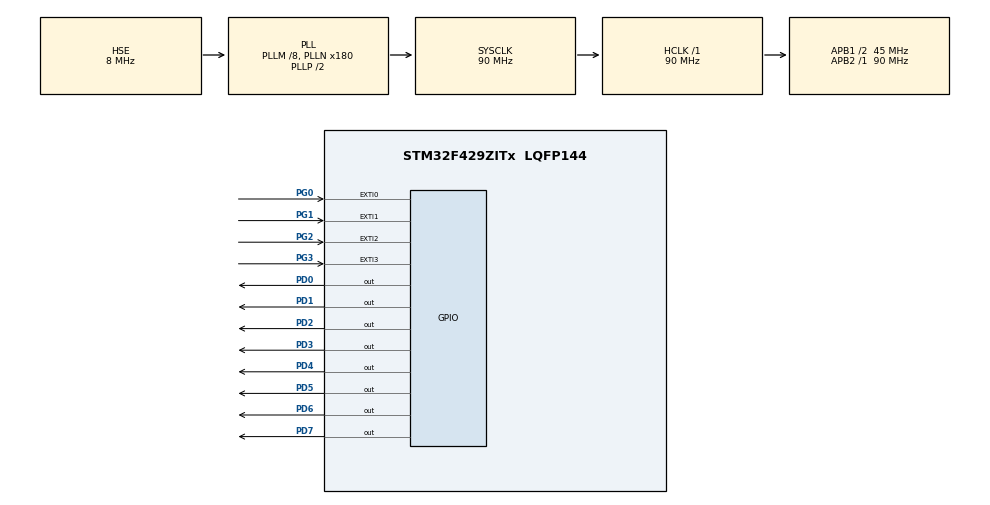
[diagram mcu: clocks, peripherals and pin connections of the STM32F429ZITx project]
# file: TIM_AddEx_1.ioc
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Mcu.Family=STM32F4
Mcu.Name=STM32F429ZITx
Mcu.Package=LQFP144
NVIC.EXTI0_IRQn=true\:0\:0\:false\:false\:true\:true\:true\:true
NVIC.EXTI1_IRQn=true\:0\:0\:false\:false\:true\:true\:true\:true
NVIC.EXTI2_IRQn=true\:0\:0\:false\:false\:true\:true\:true\:true
NVIC.EXTI3_IRQn=true\:0\:0\:false\:false\:true\:true\:true\:true
NVIC.PriorityGroup=NVIC_PRIORITYGROUP_4
NVIC.RCC_IRQn=true\:0\:0\:false\:false\:true\:true\:false\:true
NVIC.TIM2_IRQn=true\:0\:0\:false\:false\:true\:true\:true\:true
PA13.Mode=Serial_Wire
PA13.Signal=SYS_JTMS-SWDIO
PA14.Mode=Serial_Wire
PA14.Signal=SYS_JTCK-SWCLK
PD0.GPIO_ModeDefaultOutputPP=GPIO_MODE_OUTPUT_PP
PD0.GPIO_PuPd=GPIO_NOPULL
PD0.GPIO_Speed=GPIO_SPEED_FREQ_HIGH
PD0.PinState=GPIO_PIN_RESET
PD0.Signal=GPIO_Output
PD1.GPIO_ModeDefaultOutputPP=GPIO_MODE_OUTPUT_PP
PD1.GPIO_PuPd=GPIO_NOPULL
PD1.GPIO_Speed=GPIO_SPEED_FREQ_HIGH
PD1.PinState=GPIO_PIN_RESET
PD1.Signal=GPIO_Output
PD2.GPIO_ModeDefaultOutputPP=GPIO_MODE_OUTPUT_PP
PD2.GPIO_PuPd=GPIO_NOPULL
PD2.GPIO_Speed=GPIO_SPEED_FREQ_HIGH
PD2.PinState=GPIO_PIN_RESET
PD2.Signal=GPIO_Output
PD3.GPIO_ModeDefaultOutputPP=GPIO_MODE_OUTPUT_PP
PD3.GPIO_PuPd=GPIO_NOPULL
PD3.GPIO_Speed=GPIO_SPEED_FREQ_HIGH
PD3.PinState=GPIO_PIN_RESET
PD3.Signal=GPIO_Output
PD4.GPIO_ModeDefaultOutputPP=GPIO_MODE_OUTPUT_PP
PD4.GPIO_PuPd=GPIO_NOPULL
PD4.GPIO_Speed=GPIO_SPEED_FREQ_HIGH
PD4.PinState=GPIO_PIN_RESET
PD4.Signal=GPIO_Output
PD5.GPIO_ModeDefaultOutputPP=GPIO_MODE_OUTPUT_PP
PD5.GPIO_PuPd=GPIO_NOPULL
PD5.GPIO_Speed=GPIO_SPEED_FREQ_HIGH
PD5.PinState=GPIO_PIN_RESET
PD5.Signal=GPIO_Output
PD6.GPIO_ModeDefaultOutputPP=GPIO_MODE_OUTPUT_PP
PD6.GPIO_PuPd=GPIO_NOPULL
PD6.GPIO_Speed=GPIO_SPEED_FREQ_HIGH
PD6.PinState=GPIO_PIN_RESET
PD6.Signal=GPIO_Output
PD7.GPIO_ModeDefaultOutputPP=GPIO_MODE_OUTPUT_PP
PD7.GPIO_PuPd=GPIO_NOPULL
PD7.GPIO_Speed=GPIO_SPEED_FREQ_HIGH
PD7.PinState=GPIO_PIN_RESET
PD7.Signal=GPIO_Output
PG0.GPIO_ModeDefaultEXTI=GPIO_MODE_IT_FALLING
PG0.GPIO_PuPd=GPIO_NOPULL
PG0.Signal=GPXTI0
PG1.GPIO_ModeDefaultEXTI=GPIO_MODE_IT_FALLING
PG1.GPIO_PuPd=GPIO_NOPULL
PG1.Signal=GPXTI1
PG2.GPIO_ModeDefaultEXTI=GPIO_MODE_IT_FALLING
PG2.GPIO_PuPd=GPIO_NOPULL
PG2.Signal=GPXTI2
PG3.GPIO_ModeDefaultEXTI=GPIO_MODE_IT_FALLING
PG3.GPIO_PuPd=GPIO_NOPULL
PG3.Signal=GPXTI3
PH0/OSC_IN.Mode=HSE-External-Clock-Source
PH0/OSC_IN.Signal=RCC_OSC_IN
PH1/OSC_OUT.Mode=HSE-External-Clock-Source
PH1/OSC_OUT.Signal=RCC_OSC_OUT
ProjectManager.HeapSize=0x200
ProjectManager.StackSize=0x400
ProjectManager.TargetToolchain=STM32CubeIDE
RCC.48MHZClocksFreq_Value=45000000
RCC.AHBFreq_Value=90000000
RCC.APB1CLKDivider=RCC_HCLK_DIV2
RCC.APB1Freq_Value=45000000
RCC.APB1TimFreq_Value=90000000
RCC.APB2Freq_Value=90000000
RCC.APB2TimFreq_Value=90000000
RCC.CortexFreq_Value=90000000
RCC.HCLKFreq_Value=90000000
RCC.HSE_VALUE=8000000
RCC.HSI_VALUE=16000000
RCC.LSE_VALUE=32768
RCC.PLLM=8
RCC.PLLN=180
RCC.PLLSourceVirtual=RCC_PLLSOURCE_HSE
RCC.SYSCLKFreq_VALUE=90000000
RCC.SYSCLKSource=RCC_SYSCLKSOURCE_PLLCLK
RCC.VCOOutputFreq_Value=180000000
TIM2.Channel-Output\ Compare1\ No\ Output=TIM_CHANNEL_1
TIM2.Period=999
TIM2.Prescaler=8999
TIM2.Pulse-Output\ Compare1\ No\ Output=0
VP_TIM2_VS_ClockSourceINT.Mode=Internal
VP_TIM2_VS_no_output1.Mode=Output Compare1 No Output
board=custom

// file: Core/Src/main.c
/* USER CODE BEGIN Header */
/**
  ******************************************************************************
  * @file           : main.c
  * @brief          : Main program body
  ******************************************************************************
  * @attention
  *
  * Copyright (c) 2023 STMicroelectronics.
  * All rights reserved.
  *
  * This software is licensed under terms that can be found in the LICENSE file
  * in the root directory of this software component.
  * If no LICENSE file comes with this software, it is provided AS-IS.
  *
  ******************************************************************************
  */
/* USER CODE END Header */
#include "main.h"

TIM_HandleTypeDef htim2;

/* USER CODE BEGIN PV */

int flag_1 = 0, flag_2 = 0, flag_3 = 0;
int cnt_1 = 0, cnt_2 = 0;

/* USER CODE END PV */

void SystemClock_Config(void);
static void MX_GPIO_Init(void);
static void MX_TIM2_Init(void);
/* USER CODE BEGIN PFP */

void LED_OnOff(int, int);

/* USER CODE END PFP */

int main(void)
{

  /* MCU Configuration--------------------------------------------------------*/

  /* Reset of all peripherals, Initializes the Flash interface and the Systick. */
  HAL_Init();

  /* Configure the system clock */
  SystemClock_Config();

  /* Initialize all configured peripherals */
  MX_GPIO_Init();
  MX_TIM2_Init();
  /* USER CODE BEGIN 2 */

  LED_OnOff(LED_ALL, 500);
  HAL_TIM_Base_Start_IT(&htim2);
//  HAL_TIM_OC_Start_IT(&htim2, TIM_CHANNEL_1);

  /* USER CODE END 2 */

  /* Infinite loop */
  while (1)
  {

  }
}

void SystemClock_Config(void)
{
  RCC_OscInitTypeDef RCC_OscInitStruct = {0};
  RCC_ClkInitTypeDef RCC_ClkInitStruct = {0};

  /** Configure the main internal regulator output voltage
  */
  __HAL_RCC_PWR_CLK_ENABLE();
  __HAL_PWR_VOLTAGESCALING_CONFIG(PWR_REGULATOR_VOLTAGE_SCALE3);

  /** Initializes the RCC Oscillators according to the specified parameters
  * in the RCC_OscInitTypeDef structure.
  */
  RCC_OscInitStruct.OscillatorType = RCC_OSCILLATORTYPE_HSE;
  RCC_OscInitStruct.HSEState = RCC_HSE_BYPASS;
  RCC_OscInitStruct.PLL.PLLState = RCC_PLL_ON;
  RCC_OscInitStruct.PLL.PLLSource = RCC_PLLSOURCE_HSE;
  RCC_OscInitStruct.PLL.PLLM = 8;
  RCC_OscInitStruct.PLL.PLLN = 180;
  RCC_OscInitStruct.PLL.PLLP = RCC_PLLP_DIV2;
  RCC_OscInitStruct.PLL.PLLQ = 4;
  if (HAL_RCC_OscConfig(&RCC_OscInitStruct) != HAL_OK)
  {
    Error_Handler();
  }

  /** Activate the Over-Drive mode
  */
  if (HAL_PWREx_EnableOverDrive() != HAL_OK)
  {
    Error_Handler();
  }

  /** Initializes the CPU, AHB and APB buses clocks
  */
  RCC_ClkInitStruct.ClockType = RCC_CLOCKTYPE_HCLK|RCC_CLOCKTYPE_SYSCLK
                              |RCC_CLOCKTYPE_PCLK1|RCC_CLOCKTYPE_PCLK2;
  RCC_ClkInitStruct.SYSCLKSource = RCC_SYSCLKSOURCE_PLLCLK;
  RCC_ClkInitStruct.AHBCLKDivider = RCC_SYSCLK_DIV1;
  RCC_ClkInitStruct.APB1CLKDivider = RCC_HCLK_DIV2;
  RCC_ClkInitStruct.APB2CLKDivider = RCC_HCLK_DIV1;

  if (HAL_RCC_ClockConfig(&RCC_ClkInitStruct, FLASH_LATENCY_2) != HAL_OK)
  {
    Error_Handler();
  }
}

static void MX_TIM2_Init(void)
{

  TIM_ClockConfigTypeDef sClockSourceConfig = {0};
  TIM_MasterConfigTypeDef sMasterConfig = {0};
  TIM_OC_InitTypeDef sConfigOC = {0};

  htim2.Instance = TIM2;
  htim2.Init.Prescaler = 8999;
  htim2.Init.CounterMode = TIM_COUNTERMODE_UP;
  htim2.Init.Period = 999;
  htim2.Init.ClockDivision = TIM_CLOCKDIVISION_DIV1;
  htim2.Init.AutoReloadPreload = TIM_AUTORELOAD_PRELOAD_DISABLE;
  if (HAL_TIM_Base_Init(&htim2) != HAL_OK)
  {
    Error_Handler();
  }
  sClockSourceConfig.ClockSource = TIM_CLOCKSOURCE_INTERNAL;
  if (HAL_TIM_ConfigClockSource(&htim2, &sClockSourceConfig) != HAL_OK)
  {
    Error_Handler();
  }
  if (HAL_TIM_OC_Init(&htim2) != HAL_OK)
  {
    Error_Handler();
  }
  sMasterConfig.MasterOutputTrigger = TIM_TRGO_RESET;
  sMasterConfig.MasterSlaveMode = TIM_MASTERSLAVEMODE_DISABLE;
  if (HAL_TIMEx_MasterConfigSynchronization(&htim2, &sMasterConfig) != HAL_OK)
  {
    Error_Handler();
  }
  sConfigOC.OCMode = TIM_OCMODE_TIMING;
  sConfigOC.Pulse = 0;
  sConfigOC.OCPolarity = TIM_OCPOLARITY_HIGH;
  sConfigOC.OCFastMode = TIM_OCFAST_DISABLE;
  if (HAL_TIM_OC_ConfigChannel(&htim2, &sConfigOC, TIM_CHANNEL_1) != HAL_OK)
  {
    Error_Handler();
  }

}

static void MX_GPIO_Init(void)
{
  GPIO_InitTypeDef GPIO_InitStruct = {0};

  /* GPIO Ports Clock Enable */
  __HAL_RCC_GPIOH_CLK_ENABLE();
  __HAL_RCC_GPIOG_CLK_ENABLE();
  __HAL_RCC_GPIOA_CLK_ENABLE();
  __HAL_RCC_GPIOD_CLK_ENABLE();

  /*Configure GPIO pin Output Level */
  HAL_GPIO_WritePin(GPIOD, GPIO_PIN_0|GPIO_PIN_1|GPIO_PIN_2|GPIO_PIN_3
                          |GPIO_PIN_4|GPIO_PIN_5|GPIO_PIN_6|GPIO_PIN_7, GPIO_PIN_RESET);

  /*Configure GPIO pins : PG0 PG1 PG2 PG3 */
  GPIO_InitStruct.Pin = GPIO_PIN_0|GPIO_PIN_1|GPIO_PIN_2|GPIO_PIN_3;
  GPIO_InitStruct.Mode = GPIO_MODE_IT_FALLING;
  GPIO_InitStruct.Pull = GPIO_NOPULL;
  HAL_GPIO_Init(GPIOG, &GPIO_InitStruct);

  /*Configure GPIO pins : PD0 PD1 PD2 PD3
                           PD4 PD5 PD6 PD7 */
  GPIO_InitStruct.Pin = GPIO_PIN_0|GPIO_PIN_1|GPIO_PIN_2|GPIO_PIN_3
                          |GPIO_PIN_4|GPIO_PIN_5|GPIO_PIN_6|GPIO_PIN_7;
  GPIO_InitStruct.Mode = GPIO_MODE_OUTPUT_PP;
  GPIO_InitStruct.Pull = GPIO_NOPULL;
  GPIO_InitStruct.Speed = GPIO_SPEED_FREQ_HIGH;
  HAL_GPIO_Init(GPIOD, &GPIO_InitStruct);

  /* EXTI interrupt init*/
  HAL_NVIC_SetPriority(EXTI0_IRQn, 0, 0);
  HAL_NVIC_EnableIRQ(EXTI0_IRQn);

  HAL_NVIC_SetPriority(EXTI1_IRQn, 0, 0);
  HAL_NVIC_EnableIRQ(EXTI1_IRQn);

  HAL_NVIC_SetPriority(EXTI2_IRQn, 0, 0);
  HAL_NVIC_EnableIRQ(EXTI2_IRQn);

  HAL_NVIC_SetPriority(EXTI3_IRQn, 0, 0);
  HAL_NVIC_EnableIRQ(EXTI3_IRQn);

}

/* USER CODE BEGIN 4 */

void LED_OnOff(int led, int interval)
{
	HAL_GPIO_WritePin(GPIO_LED, led, GPIO_PIN_SET );
	HAL_GPIO_WritePin(GPIO_LED_Nucleo, led, GPIO_PIN_SET );
	HAL_Delay(interval);
	HAL_GPIO_WritePin(GPIO_LED, led, GPIO_PIN_RESET );
	HAL_GPIO_WritePin(GPIO_LED_Nucleo, led, GPIO_PIN_RESET );
}
void HAL_TIM_PeriodElapsedCallback(TIM_HandleTypeDef *htim)
{
	if ( htim->Instance == TIM2){
		cnt_1++, cnt_2++;
		if (flag_1 == 0){
			HAL_GPIO_WritePin(GPIO_LED, LED1, GPIO_PIN_SET);
			HAL_GPIO_WritePin(GPIO_LED, LED2, GPIO_PIN_SET);
			flag_1++;
		}
		else{
			HAL_GPIO_WritePin(GPIO_LED, LED1, GPIO_PIN_RESET);
			HAL_GPIO_WritePin(GPIO_LED, LED2, GPIO_PIN_RESET);
			flag_1 = 0;
		}
		if (cnt_1==5){
			if (flag_2 == 0){
				HAL_GPIO_WritePin(GPIO_LED, LED3, GPIO_PIN_SET);
				HAL_GPIO_WritePin(GPIO_LED, LED4, GPIO_PIN_SET);
				flag_2++;
				cnt_1 = 0;
			}
			else{
				HAL_GPIO_WritePin(GPIO_LED, LED3, GPIO_PIN_RESET);
				HAL_GPIO_WritePin(GPIO_LED, LED4, GPIO_PIN_RESET);
				flag_2 = 0;
				cnt_1 = 0;
			}
		}
		if (cnt_2==10){
			if (flag_3 == 0){
				HAL_GPIO_WritePin(GPIO_LED, LED5, GPIO_PIN_SET);
				HAL_GPIO_WritePin(GPIO_LED, LED6, GPIO_PIN_SET);
				flag_3++;
				cnt_2 = 0;
			}
			else{
				HAL_GPIO_WritePin(GPIO_LED, LED5, GPIO_PIN_RESET);
				HAL_GPIO_WritePin(GPIO_LED, LED6, GPIO_PIN_RESET);
				flag_3 = 0;
				cnt_2 = 0;
			}
		}

	}

}
/*
void HAL_TIM_OC_DelayElapsedCallback(TIM_HandleTypeDef *htim)
{
	if ( htim->Instance == TIM2){
			HAL_GPIO_WritePin(GPIO_LED, LED1|LED2, GPIO_PIN_RESET);
			flag_1++, flag_2++;
			if (flag_1==5){
				HAL_GPIO_WritePin(GPIO_LED, LED3|LED4, GPIO_PIN_RESET);
				flag_1 = 0;
			}
			if (flag_2==10){
				HAL_GPIO_WritePin(GPIO_LED, LED5|LED6, GPIO_PIN_RESET);
				flag_2 = 0;
			}
		}
}
*/

/* USER CODE END 4 */

void Error_Handler(void)
{
  __disable_irq();
  while (1)
  {
  }
}
